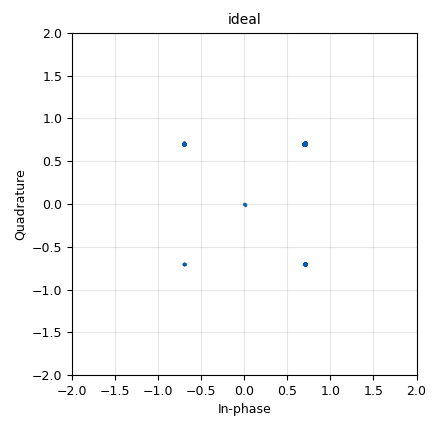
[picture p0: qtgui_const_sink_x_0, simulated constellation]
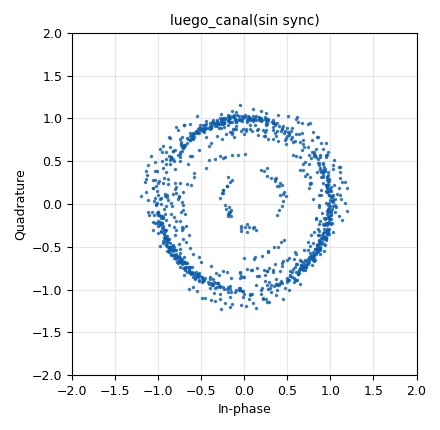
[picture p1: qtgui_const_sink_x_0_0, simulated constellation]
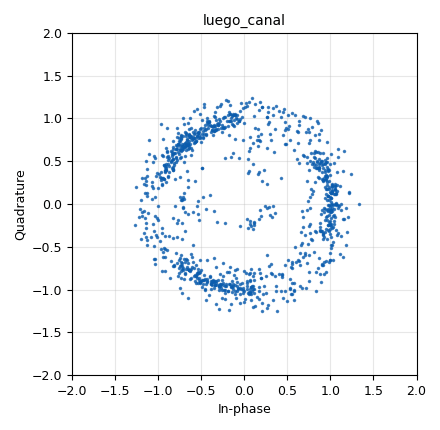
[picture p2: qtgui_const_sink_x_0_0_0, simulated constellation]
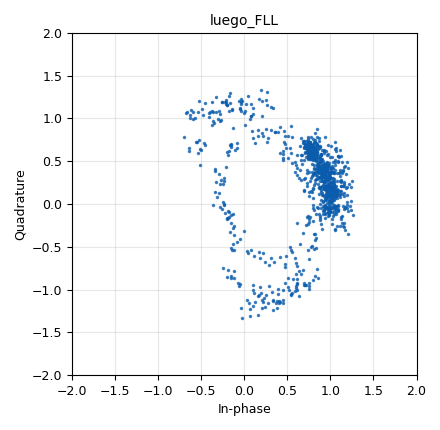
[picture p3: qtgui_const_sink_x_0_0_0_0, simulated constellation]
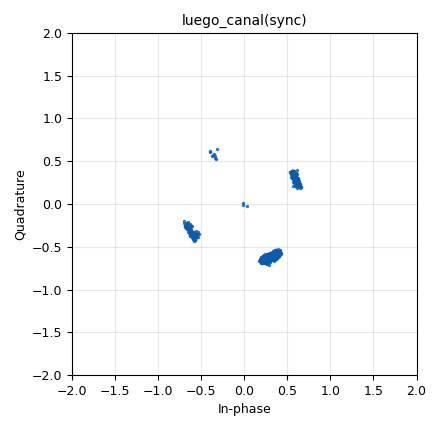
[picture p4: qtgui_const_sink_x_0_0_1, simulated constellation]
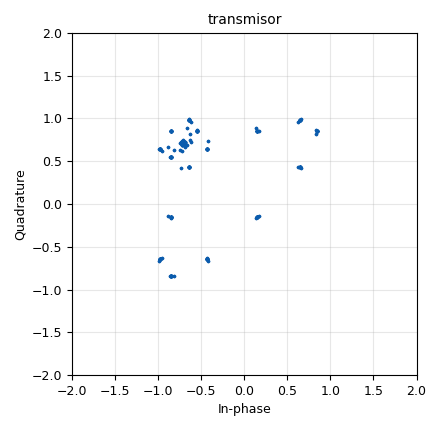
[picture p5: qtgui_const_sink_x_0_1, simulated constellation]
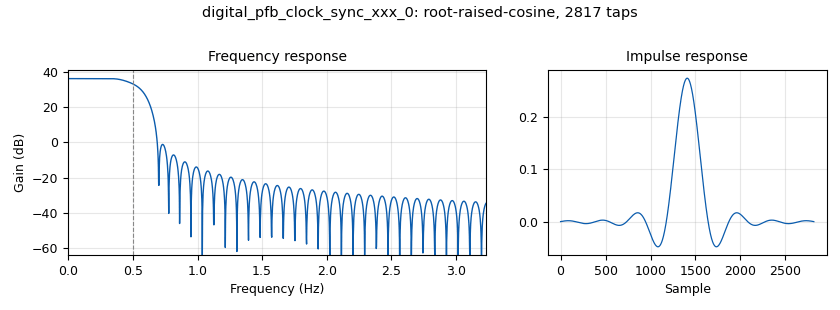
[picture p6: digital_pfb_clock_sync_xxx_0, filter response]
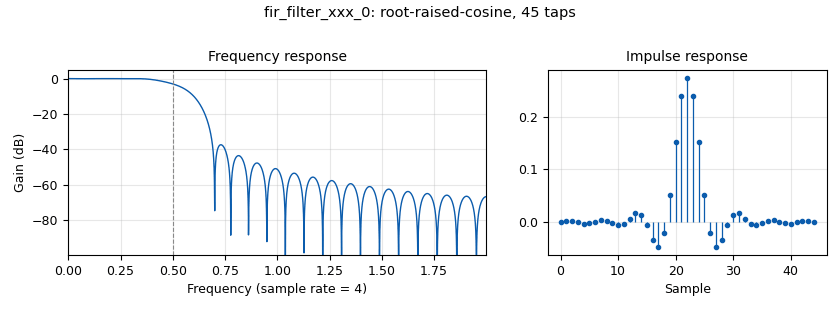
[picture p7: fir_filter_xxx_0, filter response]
options:
  parameters:
    author: Juan Jose
    generate_options: qt_gui
    id: prueba_polyphase_clock_sync
    output_language: python
    title: prueba_polyphase_clock_sync
  states: {}

blocks:
- name: const
  id: variable_constellation
  parameters:
    const_points: '[-1-1j, -1+1j, 1+1j, 1-1j]'
    dims: '1'
    normalization: digital.constellation.AMPLITUDE_NORMALIZATION
    precision: '8'
    rot_sym: '4'
    sym_map: '[0, 1, 3, 2]'
    type: calcdist
  states: {}
- name: excess_bw
  id: variable
  parameters:
    value: '0.35'
  states: {}
- name: freq_offset
  id: variable
  parameters:
    comment: |-
      0.001----32HZ-----por usar samp_rate
      portadora hackRF 915 MHz
    value: '0.001'
  states: {}
- name: nfiltros
  id: variable
  parameters:
    value: '64'
  states: {}
- name: noise_amp
  id: variable
  parameters:
    comment: 0.071 ----SNR=20dB
    value: '0.071'
  states: {}
- name: preambulo
  id: variable
  parameters:
    value: np.array([1,1j,-1,-1j,1,-1j,1,-1j,1,-1j,-1,1j,1]+[0]*3)*(1+1j)/np.sqrt(2)
  states: {}
- name: preambulo_rrc
  id: variable
  parameters:
    value: np.convolve(rrc_int, np.kron(preambulo,[1]+[0]*sps))[len(rrc_int)//2:len(rrc_int)//2+len(preambulo)*sps]
  states: {}
- name: rrc_dec
  id: variable_rrc_filter_taps
  parameters:
    alpha: '0.35'
    gain: '1'
    ntaps: 11*sps
    samp_rate: sps
    sym_rate: '1'
  states: {}
- name: rrc_int
  id: variable_rrc_filter_taps
  parameters:
    alpha: '0.35'
    gain: sps
    ntaps: 11*sps
    samp_rate: sps
    sym_rate: '1'
  states: {}
- name: rrc_pcs
  id: variable_rrc_filter_taps
  parameters:
    alpha: '0.35'
    gain: nfiltros
    ntaps: 11*nfiltros*sps
    samp_rate: nfiltros*sps
    sym_rate: '1'
  states: {}
- name: samp_rate
  id: variable
  parameters:
    value: '32000'
  states: {}
- name: sps
  id: variable
  parameters:
    value: '4'
  states: {}
- name: analog_random_source_x_0
  id: analog_random_source_x
  parameters:
    max: '256'
    min: '0'
    num_samps: '10000'
    repeat: 'True'
    type: byte
  states: {state: disabled}
- name: blocks_char_to_float_0
  id: blocks_char_to_float
  parameters:
    scale: '1'
  states: {}
- name: blocks_char_to_float_0_0
  id: blocks_char_to_float
  parameters:
    scale: '1'
  states: {}
- name: blocks_char_to_float_0_1
  id: blocks_char_to_float
  parameters:
    scale: '1'
  states: {}
- name: blocks_multiply_by_tag_value_cc_0_0
  id: blocks_multiply_by_tag_value_cc
  parameters:
    tagname: '"amp_est"'
  states: {}
- name: blocks_multiply_const_vxx_0
  id: blocks_multiply_const_vxx
  parameters:
    const: 1/nfiltros
    type: float
  states: {}
- name: blocks_null_sink_0
  id: blocks_null_sink
  parameters:
    type: byte
  states: {}
- name: blocks_null_sink_2
  id: blocks_null_sink
  parameters:
    type: byte
  states: {}
- name: blocks_repack_bits_bb_0
  id: blocks_repack_bits_bb
  parameters:
    endianness: gr.GR_LSB_FIRST
    k: '1'
    l: '8'
  states: {}
- name: blocks_repack_bits_bb_0_0
  id: blocks_repack_bits_bb
  parameters:
    endianness: gr.GR_LSB_FIRST
    k: '8'
    l: '1'
  states: {state: disabled}
- name: blocks_repack_bits_bb_0_1
  id: blocks_repack_bits_bb
  parameters:
    endianness: gr.GR_LSB_FIRST
    k: '2'
    l: '1'
  states: {}
- name: blocks_repack_bits_bb_1
  id: blocks_repack_bits_bb
  parameters:
    endianness: gr.GR_LSB_FIRST
    k: '8'
    l: '2'
    len_tag_key: '"packet_len"'
  states: {}
- name: blocks_repack_bits_bb_1_0
  id: blocks_repack_bits_bb
  parameters:
    endianness: gr.GR_LSB_FIRST
    k: '1'
    l: '2'
    len_tag_key: '"packet_len"'
  states: {}
- name: blocks_stream_to_tagged_stream_0
  id: blocks_stream_to_tagged_stream
  parameters:
    comment: segmenta en paquetes etiquetados.
    len_tag_key: '"packet_len"'
    packet_len: '512'
    type: byte
  states: {}
- name: blocks_stream_to_tagged_stream_1
  id: blocks_stream_to_tagged_stream
  parameters:
    len_tag_key: '"packet_len"'
    packet_len: len(preambulo)
    type: complex
  states: {}
- name: blocks_tag_gate_0
  id: blocks_tag_gate
  parameters:
    propagate_tags: 'True'
    type: complex
  states: {}
- name: blocks_tagged_stream_mux_0
  id: blocks_tagged_stream_mux
  parameters:
    lengthtagname: '"packet_len"'
    ninputs: '2'
    type: byte
  states: {}
- name: blocks_tagged_stream_mux_1
  id: blocks_tagged_stream_mux
  parameters:
    lengthtagname: '"packet_len"'
    ninputs: '2'
    type: complex
  states: {}
- name: blocks_throttle2_0
  id: blocks_throttle2
  parameters:
    samples_per_second: samp_rate
    type: complex
  states: {}
- name: blocks_vector_source_x_0
  id: blocks_vector_source_x
  parameters:
    repeat: 'True'
    type: byte
    vector: '[0]*10+[100]*10'
  states: {}
- name: blocks_vector_source_x_1
  id: blocks_vector_source_x
  parameters:
    repeat: 'True'
    type: complex
    vector: preambulo
  states: {}
- name: channels_channel_model_0
  id: channels_channel_model
  parameters:
    block_tags: 'True'
    epsilon: '1.001'
    freq_offset: freq_offset
    noise_voltage: noise_amp
    seed: '0'
    taps: '1.0'
  states: {}
- name: digital_constellation_decoder_cb_0
  id: digital_constellation_decoder_cb
  parameters:
    constellation: const
  states: {}
- name: digital_constellation_encoder_bc_0
  id: digital_constellation_encoder_bc
  parameters:
    constellation: const
  states: {}
- name: digital_corr_est_cc_0
  id: digital_corr_est_cc
  parameters:
    mark_delay: '1'
    sps: '1'
    symbols: preambulo_rrc
    threshold: '0.4'
    threshold_method: digital.THRESHOLD_ABSOLUTE
  states: {}
- name: digital_costas_loop_cc_0
  id: digital_costas_loop_cc
  parameters:
    order: '4'
    w: '0.01'
  states: {}
- name: digital_crc32_bb_0
  id: digital_crc32_bb
  parameters:
    check: 'False'
    comment: |-
      agrega CRC basado en la longitud 
      de los paquetes etiquetados.
    lengthtagname: '"packet_len"'
    packed: 'True'
  states: {}
- name: digital_crc32_bb_1
  id: digital_crc32_bb
  parameters:
    check: 'True'
    lengthtagname: '"packet_len"'
    packed: 'True'
  states: {}
- name: digital_diff_decoder_bb_0
  id: digital_diff_decoder_bb
  parameters:
    coding: digital.DIFF_DIFFERENTIAL
    modulus: '4'
  states: {}
- name: digital_diff_encoder_bb_0
  id: digital_diff_encoder_bb
  parameters:
    coding: digital.DIFF_DIFFERENTIAL
    modulus: '4'
  states: {}
- name: digital_fll_band_edge_cc_0
  id: digital_fll_band_edge_cc
  parameters:
    filter_size: nfiltros
    rolloff: '.35'
    samps_per_sym: sps
    type: cc
    w: '.01'
  states: {}
- name: digital_header_payload_demux_0
  id: digital_header_payload_demux
  parameters:
    header_len: 32//8
    header_padding: '0'
    items_per_symbol: '1'
    length_tag_key: '"packet_len"'
    output_symbols: 'False'
    samp_rate: samp_rate
    special_tags: '[]'
    timing_tag_key: '"rx_time"'
    trigger_tag_key: '"corr_start"'
    type: byte
  states: {}
- name: digital_packet_headergenerator_bb_default_0
  id: digital_packet_headergenerator_bb_default
  parameters:
    header_len: '32'
    len_tag_key: '"packet_len"'
  states: {}
- name: digital_packet_headerparser_b_default_1
  id: digital_packet_headerparser_b_default
  parameters:
    header_len: '32'
    len_tag_key: '"packet_len"'
  states: {}
- name: digital_pfb_clock_sync_xxx_0
  id: digital_pfb_clock_sync_xxx
  parameters:
    filter_size: nfiltros
    init_phase: nfiltros//2
    loop_bw: '.01'
    max_dev: '1.5'
    osps: '1'
    sps: sps
    taps: rrc_pcs
    type: ccf
  states: {}
- name: fec_ber_bf_0
  id: fec_ber_bf
  parameters:
    test_mode: 'False'
  states: {state: disabled}
- name: fir_filter_xxx_0
  id: fir_filter_xxx
  parameters:
    decim: sps
    taps: rrc_dec
    type: ccc
  states: {}
- name: fir_filter_xxx_0_0
  id: fir_filter_xxx
  parameters:
    decim: sps
    taps: rrc_dec
    type: ccc
  states: {}
- name: import_0
  id: import
  parameters:
    imports: import numpy as np
  states: {}
- name: interp_fir_filter_xxx_0
  id: interp_fir_filter_xxx
  parameters:
    interp: sps
    taps: rrc_int
    type: ccc
  states: {}
- name: qtgui_const_sink_x_0
  id: qtgui_const_sink_x
  parameters:
    gui_hint: 0,0,1,1
    name: '"ideal"'
    size: '1024'
    style1: '1'
    type: complex
  states: {}
- name: qtgui_const_sink_x_0_0
  id: qtgui_const_sink_x
  parameters:
    gui_hint: 1,1,1,1
    name: '"luego_canal(sin sync)"'
    size: '1024'
    type: complex
  states: {}
- name: qtgui_const_sink_x_0_0_0
  id: qtgui_const_sink_x
  parameters:
    gui_hint: 1,0,1,1
    name: '"luego_canal"'
    size: '1024'
    type: complex
  states: {}
- name: qtgui_const_sink_x_0_0_0_0
  id: qtgui_const_sink_x
  parameters:
    gui_hint: 2,0,1,1
    name: '"luego_FLL"'
    size: '1024'
    type: complex
  states: {}
- name: qtgui_const_sink_x_0_0_1
  id: qtgui_const_sink_x
  parameters:
    gui_hint: 1,2,1,1
    name: '"luego_canal(sync)"'
    size: '1024'
    type: complex
  states: {}
- name: qtgui_const_sink_x_0_1
  id: qtgui_const_sink_x
  parameters:
    gui_hint: 0,1,1,1
    name: '"transmisor"'
    size: '1024'
    style1: '1'
    type: complex
  states: {}
- name: qtgui_const_sink_x_1_0
  id: qtgui_const_sink_x
  parameters:
    gui_hint: 3,0,1,1
    name: '"Luego_Costas"'
    size: '1024'
    style1: '1'
    type: complex
  states: {}
- name: qtgui_number_sink_0
  id: qtgui_number_sink
  parameters:
    graph_type: qtgui.NUM_GRAPH_HORIZ
    min: '0'
    name: '"BER_visual"'
    type: float
  states: {state: disabled}
- name: qtgui_time_sink_x_0
  id: qtgui_time_sink_x
  parameters:
    gui_hint: 2,2,1,1
    label1: ERR
    label2: RATE
    label3: PHASE
    name: '"sync(fase)"'
    nconnections: '3'
    size: '1024'
    srate: samp_rate
    type: float
  states: {}
- name: qtgui_time_sink_x_1
  id: qtgui_time_sink_x
  parameters:
    name: '"Header Rx"'
    size: '128'
    srate: samp_rate
    type: float
    ymax: '1.5'
    ymin: '-0.5'
  states: {}
- name: qtgui_time_sink_x_1_0
  id: qtgui_time_sink_x
  parameters:
    name: '"Payload Rx"'
    size: '2048'
    srate: samp_rate
    type: float
    ymax: '127'
    ymin: '-128'
  states: {}
- name: qtgui_time_sink_x_1_1
  id: qtgui_time_sink_x
  parameters:
    name: '"Header Tx"'
    size: '128'
    srate: samp_rate
    tr_mode: qtgui.TRIG_MODE_TAG
    tr_tag: '"packet_len"'
    type: float
    ymax: '1.5'
    ymin: '-0.5'
  states: {}
- name: virtual_sink_0
  id: virtual_sink
  parameters:
    stream_id: entrada_rx
  states: {}
- name: virtual_sink_0_0
  id: virtual_sink
  parameters:
    stream_id: trans_BER
  states: {}
- name: virtual_sink_0_1
  id: virtual_sink
  parameters:
    stream_id: recep_BER
  states: {}
- name: virtual_sink_1
  id: virtual_sink
  parameters:
    stream_id: transmisor
  states: {}
- name: virtual_source_0
  id: virtual_source
  parameters:
    stream_id: entrada_rx
  states: {}
- name: virtual_source_0_0
  id: virtual_source
  parameters:
    stream_id: trans_BER
  states: {}
- name: virtual_source_0_1
  id: virtual_source
  parameters:
    stream_id: recep_BER
  states: {}
- name: virtual_source_1
  id: virtual_source
  parameters:
    stream_id: transmisor
  states: {}

connections:
- [analog_random_source_x_0, '0', blocks_stream_to_tagged_stream_0, '0']
- [blocks_char_to_float_0, '0', qtgui_time_sink_x_1, '0']
- [blocks_char_to_float_0_0, '0', qtgui_time_sink_x_1_0, '0']
- [blocks_char_to_float_0_1, '0', qtgui_time_sink_x_1_1, '0']
- [blocks_multiply_by_tag_value_cc_0_0, '0', digital_pfb_clock_sync_xxx_0, '0']
- [blocks_multiply_const_vxx_0, '0', qtgui_time_sink_x_0, '2']
- [blocks_repack_bits_bb_0, '0', digital_header_payload_demux_0, '0']
- [blocks_repack_bits_bb_0_0, '0', digital_packet_headerparser_b_default_1, '0']
- [blocks_repack_bits_bb_0_1, '0', blocks_repack_bits_bb_0, '0']
- [blocks_repack_bits_bb_1, '0', blocks_tagged_stream_mux_0, '1']
- [blocks_repack_bits_bb_1_0, '0', blocks_tagged_stream_mux_0, '0']
- [blocks_stream_to_tagged_stream_0, '0', digital_crc32_bb_0, '0']
- [blocks_stream_to_tagged_stream_0, '0', virtual_sink_0_0, '0']
- [blocks_stream_to_tagged_stream_1, '0', blocks_tagged_stream_mux_1, '0']
- [blocks_tag_gate_0, '0', virtual_sink_0, '0']
- [blocks_tagged_stream_mux_0, '0', digital_diff_encoder_bb_0, '0']
- [blocks_tagged_stream_mux_1, '0', interp_fir_filter_xxx_0, '0']
- [blocks_throttle2_0, '0', channels_channel_model_0, '0']
- [blocks_throttle2_0, '0', fir_filter_xxx_0, '0']
- [blocks_throttle2_0, '0', qtgui_const_sink_x_0_1, '0']
- [blocks_vector_source_x_0, '0', blocks_stream_to_tagged_stream_0, '0']
- [blocks_vector_source_x_1, '0', blocks_stream_to_tagged_stream_1, '0']
- [channels_channel_model_0, '0', blocks_tag_gate_0, '0']
- [digital_constellation_decoder_cb_0, '0', digital_diff_decoder_bb_0, '0']
- [digital_constellation_encoder_bc_0, '0', blocks_tagged_stream_mux_1, '1']
- [digital_corr_est_cc_0, '0', blocks_multiply_by_tag_value_cc_0_0, '0']
- [digital_costas_loop_cc_0, '0', digital_constellation_decoder_cb_0, '0']
- [digital_costas_loop_cc_0, '0', qtgui_const_sink_x_1_0, '0']
- [digital_crc32_bb_0, '0', blocks_repack_bits_bb_1, '0']
- [digital_crc32_bb_0, '0', digital_packet_headergenerator_bb_default_0, '0']
- [digital_crc32_bb_1, '0', virtual_sink_0_1, '0']
- [digital_diff_decoder_bb_0, '0', blocks_repack_bits_bb_0_1, '0']
- [digital_diff_encoder_bb_0, '0', digital_constellation_encoder_bc_0, '0']
- [digital_fll_band_edge_cc_0, '0', digital_corr_est_cc_0, '0']
- [digital_fll_band_edge_cc_0, '0', qtgui_const_sink_x_0_0_0_0, '0']
- [digital_header_payload_demux_0, '0', blocks_char_to_float_0, '0']
- [digital_header_payload_demux_0, '0', blocks_repack_bits_bb_0_0, '0']
- [digital_header_payload_demux_0, '0', digital_packet_headerparser_b_default_1, '0']
- [digital_header_payload_demux_0, '1', blocks_char_to_float_0_0, '0']
- [digital_header_payload_demux_0, '1', digital_crc32_bb_1, '0']
- [digital_packet_headergenerator_bb_default_0, '0', blocks_char_to_float_0_1, '0']
- [digital_packet_headergenerator_bb_default_0, '0', blocks_repack_bits_bb_1_0, '0']
- [digital_packet_headerparser_b_default_1, header_data, digital_header_payload_demux_0, header_data]
- [digital_pfb_clock_sync_xxx_0, '0', digital_costas_loop_cc_0, '0']
- [digital_pfb_clock_sync_xxx_0, '0', qtgui_const_sink_x_0_0_1, '0']
- [digital_pfb_clock_sync_xxx_0, '1', qtgui_time_sink_x_0, '0']
- [digital_pfb_clock_sync_xxx_0, '2', qtgui_time_sink_x_0, '1']
- [digital_pfb_clock_sync_xxx_0, '3', blocks_multiply_const_vxx_0, '0']
- [fec_ber_bf_0, '0', qtgui_number_sink_0, '0']
- [fir_filter_xxx_0, '0', qtgui_const_sink_x_0, '0']
- [fir_filter_xxx_0_0, '0', qtgui_const_sink_x_0_0, '0']
- [interp_fir_filter_xxx_0, '0', virtual_sink_1, '0']
- [virtual_source_0, '0', digital_fll_band_edge_cc_0, '0']
- [virtual_source_0, '0', fir_filter_xxx_0_0, '0']
- [virtual_source_0, '0', qtgui_const_sink_x_0_0_0, '0']
- [virtual_source_0_0, '0', blocks_null_sink_2, '0']
- [virtual_source_0_0, '0', fec_ber_bf_0, '1']
- [virtual_source_0_1, '0', blocks_null_sink_0, '0']
- [virtual_source_0_1, '0', fec_ber_bf_0, '0']
- [virtual_source_1, '0', blocks_throttle2_0, '0']

metadata:
  file_format: 1
  grc_version: 3.10.12.0
